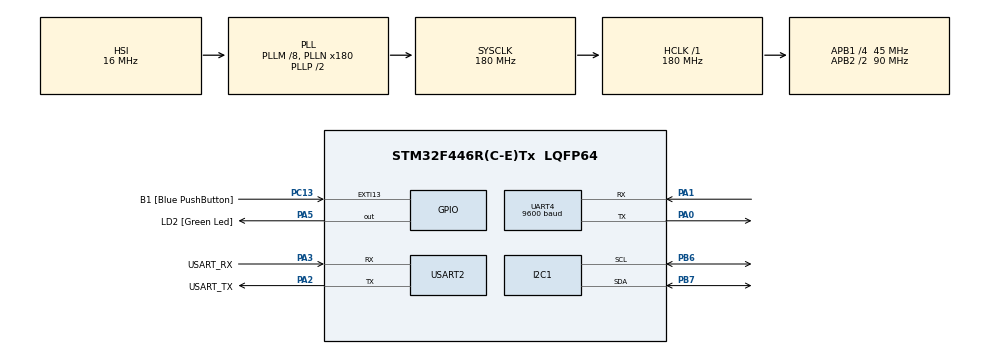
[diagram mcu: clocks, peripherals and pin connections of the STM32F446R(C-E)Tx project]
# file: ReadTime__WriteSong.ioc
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Mcu.Family=STM32F4
PH0-OSC_IN.Signal=RCC_OSC_IN
RCC.CortexFreq_Value=180000000
FREERTOS.Tasks01=readTime,-1,128,StartReadTime,Default,NULL,Dynamic,NULL,NULL;songTask,-3,128,StartSongTask,Default,NULL,Dynamic,NULL,NULL;counter,-3,128,Startcounter,Default,NULL,Dynamic,NULL,NULL
PC13.Signal=GPXTI13
FREERTOS.INCLUDE_vTaskDelayUntil=1
PA14.GPIO_Label=TCK
PC13.GPIO_Label=B1 [Blue PushButton]
RCC.APB1CLKDivider=RCC_HCLK_DIV4
UART4.VirtualMode=Asynchronous
RCC.SYSCLKSource=RCC_SYSCLKSOURCE_PLLCLK
ProjectManager.StackSize=0x400
PA0-WKUP.Signal=UART4_TX
PA0-WKUP.Mode=Asynchronous
PA13.Signal=SYS_JTMS-SWDIO
PA3.Mode=Asynchronous
ProjectManager.TargetToolchain=STM32CubeIDE
UART4.BaudRate=9600
RCC.HCLKFreq_Value=180000000
RCC.APB2TimFreq_Value=180000000
PB6.Signal=I2C1_SCL
PB6.Mode=I2C
RCC.USBFreq_Value=180000000
PA1.Signal=UART4_RX
RCC.AHBFreq_Value=180000000
PH0-OSC_IN.Mode=HSE-External-Oscillator
PA5.Signal=GPIO_Output
RCC.HSE_VALUE=8000000
board=NUCLEO-F446RE
RCC.VCOOutputFreq_Value=360000000
RCC.APB2Freq_Value=90000000
PA1.Mode=Asynchronous
PA14.Mode=Serial_Wire
VP_SYS_VS_tim1.Mode=TIM1
PH1-OSC_OUT.Signal=RCC_OSC_OUT
PB7.Signal=I2C1_SDA
VP_FREERTOS_VS_CMSIS_V1.Mode=CMSIS_V1
PA13.Mode=Serial_Wire
Mcu.Name=STM32F446R(C-E)Tx
PA2.Signal=USART2_TX
PA13.GPIO_Label=TMS
RCC.FLatency-AdvancedSettings=FLASH_LATENCY_5
PH1-OSC_OUT.Mode=HSE-External-Oscillator
RCC.48MHZClocksFreq_Value=84000000
RCC.SYSCLKFreq_VALUE=180000000
Mcu.Package=LQFP64
NVIC.TimeBase=TIM1_UP_TIM10_IRQn
PA5.GPIO_Label=LD2 [Green Led]
PC13.GPIO_ModeDefaultEXTI=GPIO_MODE_IT_FALLING
USART2.VirtualMode=VM_ASYNC
PA2.GPIO_Label=USART_TX
PB7.Mode=I2C
NVIC.TimeBaseIP=TIM1
PA14.Signal=SYS_JTCK-SWCLK
ProjectManager.HeapSize=0x200
NVIC.TIM1_UP_TIM10_IRQn=true\:0\:0\:false\:false\:true\:false\:false\:true
RCC.HSI_VALUE=16000000
NVIC.PriorityGroup=NVIC_PRIORITYGROUP_4
RCC.APB2CLKDivider=RCC_HCLK_DIV2
RCC.PLLM=8
RCC.PLLN=180
RCC.APB1TimFreq_Value=90000000
PA2.Mode=Asynchronous
RCC.APB1Freq_Value=45000000
PA3.GPIO_Label=USART_RX
PA3.Signal=USART2_RX

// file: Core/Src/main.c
/* USER CODE BEGIN Header */
/**
  ******************************************************************************
  * @file           : main.c
  * @brief          : Main program body
  ******************************************************************************
  * @attention
  *
  * <h2><center>&copy; Copyright (c) 2021 STMicroelectronics.
  * All rights reserved.</center></h2>
  *
  * This software component is licensed by ST under Ultimate Liberty license
  * SLA0044, the "License"; You may not use this file except in compliance with
  * the License. You may obtain a copy of the License at:
  *                             www.st.com/SLA0044
  *
  ******************************************************************************
  */
/* USER CODE END Header */
#include "main.h"
#include "cmsis_os.h"

/* USER CODE BEGIN Includes */
#include "stdio.h"
#include "string.h"
#include "df_player.h"
#include "fonts.h"
#include "ssd1306.h"
#include "DS3231.h"
/* USER CODE END Includes */

I2C_HandleTypeDef hi2c1;

UART_HandleTypeDef huart4;
UART_HandleTypeDef huart2;

osThreadId readTimeHandle;
osThreadId songTaskHandle;
osThreadId counterHandle;
/* USER CODE BEGIN PV */
osThreadId writeOLEDHandle;

uint16_t counter = 0;
/* USER CODE END PV */

void SystemClock_Config(void);
static void MX_GPIO_Init(void);
static void MX_USART2_UART_Init(void);
static void MX_UART4_Init(void);
static void MX_I2C1_Init(void);
void StartReadTime(void const * argument);
void StartSongTask(void const * argument);
void Startcounter(void const * argument);

/* USER CODE BEGIN PFP */
void StartWriteOLED(void const * argument);
/* USER CODE END PFP */

int main(void)
{

  /* MCU Configuration--------------------------------------------------------*/

  /* Reset of all peripherals, Initializes the Flash interface and the Systick. */
  HAL_Init();

  /* Configure the system clock */
  SystemClock_Config();

  /* Initialize all configured peripherals */
  MX_GPIO_Init();
  MX_USART2_UART_Init();
  MX_UART4_Init();
  MX_I2C1_Init();
  /* USER CODE BEGIN 2 */
  if (ssd1306_Init(&hi2c1) != 0) {
    Error_Handler();
  }
  ssd1306_Fill(Black);
  ssd1306_UpdateScreen(&hi2c1);
  push.seconds = 0 ;
  push.minutes = 25;
  push.hour = 17;
  push.day = 3;
  push.numWeek = 8;
  push.numMonth = 9;
  push.year = 21;
  pushTime(&push);
  /* USER CODE END 2 */

  /* Create the thread(s) */
  /* definition and creation of readTime */
  osThreadDef(readTime, StartReadTime, osPriorityBelowNormal, 0, 128);
  readTimeHandle = osThreadCreate(osThread(readTime), NULL);

  /* definition and creation of songTask */
  osThreadDef(songTask, StartSongTask, osPriorityIdle, 0, 128);
  songTaskHandle = osThreadCreate(osThread(songTask), NULL);

  /* definition and creation of counter */
  osThreadDef(counter, Startcounter, osPriorityIdle, 0, 128);
  counterHandle = osThreadCreate(osThread(counter), NULL);

  /* USER CODE BEGIN RTOS_THREADS */
  /* add threads, ... */
  osThreadDef(writeOLED, StartWriteOLED, osPriorityHigh, 0, 128);
  writeOLEDHandle = osThreadCreate(osThread(writeOLED), NULL);
  /* USER CODE END RTOS_THREADS */

  /* Start scheduler */
  osKernelStart();

  /* We should never get here as control is now taken by the scheduler */
  /* Infinite loop */
  while (1)
  {

  }
}

void SystemClock_Config(void)
{
  RCC_OscInitTypeDef RCC_OscInitStruct = {0};
  RCC_ClkInitTypeDef RCC_ClkInitStruct = {0};

  /** Configure the main internal regulator output voltage
  */
  __HAL_RCC_PWR_CLK_ENABLE();
  __HAL_PWR_VOLTAGESCALING_CONFIG(PWR_REGULATOR_VOLTAGE_SCALE1);
  /** Initializes the RCC Oscillators according to the specified parameters
  * in the RCC_OscInitTypeDef structure.
  */
  RCC_OscInitStruct.OscillatorType = RCC_OSCILLATORTYPE_HSI;
  RCC_OscInitStruct.HSIState = RCC_HSI_ON;
  RCC_OscInitStruct.HSICalibrationValue = RCC_HSICALIBRATION_DEFAULT;
  RCC_OscInitStruct.PLL.PLLState = RCC_PLL_ON;
  RCC_OscInitStruct.PLL.PLLSource = RCC_PLLSOURCE_HSI;
  RCC_OscInitStruct.PLL.PLLM = 8;
  RCC_OscInitStruct.PLL.PLLN = 180;
  RCC_OscInitStruct.PLL.PLLP = RCC_PLLP_DIV2;
  RCC_OscInitStruct.PLL.PLLQ = 2;
  RCC_OscInitStruct.PLL.PLLR = 2;
  if (HAL_RCC_OscConfig(&RCC_OscInitStruct) != HAL_OK)
  {
    Error_Handler();
  }
  /** Activate the Over-Drive mode
  */
  if (HAL_PWREx_EnableOverDrive() != HAL_OK)
  {
    Error_Handler();
  }
  /** Initializes the CPU, AHB and APB buses clocks
  */
  RCC_ClkInitStruct.ClockType = RCC_CLOCKTYPE_HCLK|RCC_CLOCKTYPE_SYSCLK
                              |RCC_CLOCKTYPE_PCLK1|RCC_CLOCKTYPE_PCLK2;
  RCC_ClkInitStruct.SYSCLKSource = RCC_SYSCLKSOURCE_PLLCLK;
  RCC_ClkInitStruct.AHBCLKDivider = RCC_SYSCLK_DIV1;
  RCC_ClkInitStruct.APB1CLKDivider = RCC_HCLK_DIV4;
  RCC_ClkInitStruct.APB2CLKDivider = RCC_HCLK_DIV2;

  if (HAL_RCC_ClockConfig(&RCC_ClkInitStruct, FLASH_LATENCY_5) != HAL_OK)
  {
    Error_Handler();
  }
}

static void MX_I2C1_Init(void)
{

  hi2c1.Instance = I2C1;
  hi2c1.Init.ClockSpeed = 100000;
  hi2c1.Init.DutyCycle = I2C_DUTYCYCLE_2;
  hi2c1.Init.OwnAddress1 = 0;
  hi2c1.Init.AddressingMode = I2C_ADDRESSINGMODE_7BIT;
  hi2c1.Init.DualAddressMode = I2C_DUALADDRESS_DISABLE;
  hi2c1.Init.OwnAddress2 = 0;
  hi2c1.Init.GeneralCallMode = I2C_GENERALCALL_DISABLE;
  hi2c1.Init.NoStretchMode = I2C_NOSTRETCH_DISABLE;
  if (HAL_I2C_Init(&hi2c1) != HAL_OK)
  {
    Error_Handler();
  }

}

static void MX_UART4_Init(void)
{

  huart4.Instance = UART4;
  huart4.Init.BaudRate = 9600;
  huart4.Init.WordLength = UART_WORDLENGTH_8B;
  huart4.Init.StopBits = UART_STOPBITS_1;
  huart4.Init.Parity = UART_PARITY_NONE;
  huart4.Init.Mode = UART_MODE_TX_RX;
  huart4.Init.HwFlowCtl = UART_HWCONTROL_NONE;
  huart4.Init.OverSampling = UART_OVERSAMPLING_16;
  if (HAL_UART_Init(&huart4) != HAL_OK)
  {
    Error_Handler();
  }

}

static void MX_USART2_UART_Init(void)
{

  huart2.Instance = USART2;
  huart2.Init.BaudRate = 115200;
  huart2.Init.WordLength = UART_WORDLENGTH_8B;
  huart2.Init.StopBits = UART_STOPBITS_1;
  huart2.Init.Parity = UART_PARITY_NONE;
  huart2.Init.Mode = UART_MODE_TX_RX;
  huart2.Init.HwFlowCtl = UART_HWCONTROL_NONE;
  huart2.Init.OverSampling = UART_OVERSAMPLING_16;
  if (HAL_UART_Init(&huart2) != HAL_OK)
  {
    Error_Handler();
  }

}

static void MX_GPIO_Init(void)
{
  GPIO_InitTypeDef GPIO_InitStruct = {0};

  /* GPIO Ports Clock Enable */
  __HAL_RCC_GPIOC_CLK_ENABLE();
  __HAL_RCC_GPIOH_CLK_ENABLE();
  __HAL_RCC_GPIOA_CLK_ENABLE();
  __HAL_RCC_GPIOB_CLK_ENABLE();

  /*Configure GPIO pin Output Level */
  HAL_GPIO_WritePin(LD2_GPIO_Port, LD2_Pin, GPIO_PIN_RESET);

  /*Configure GPIO pin : B1_Pin */
  GPIO_InitStruct.Pin = B1_Pin;
  GPIO_InitStruct.Mode = GPIO_MODE_IT_FALLING;
  GPIO_InitStruct.Pull = GPIO_NOPULL;
  HAL_GPIO_Init(B1_GPIO_Port, &GPIO_InitStruct);

  /*Configure GPIO pin : LD2_Pin */
  GPIO_InitStruct.Pin = LD2_Pin;
  GPIO_InitStruct.Mode = GPIO_MODE_OUTPUT_PP;
  GPIO_InitStruct.Pull = GPIO_NOPULL;
  GPIO_InitStruct.Speed = GPIO_SPEED_FREQ_LOW;
  HAL_GPIO_Init(LD2_GPIO_Port, &GPIO_InitStruct);

}

/* USER CODE BEGIN 4 */
void StartWriteOLED(void const * argument)
{
	char str[15];
	for(;;){
		pullTime();
		/*ssd1306_SetCursor(5, 0);
		ssd1306_WriteString("COUNTER", Font_11x18, White);*/
		ssd1306_SetCursor(15, 36);
		sprintf(str,"%d",counter);
		ssd1306_WriteString(str, Font_11x18, White);
		ssd1306_SetCursor(20, 5);
		sprintf(str,"%02d:%02d:%02d:",pull.hour,pull.minutes,pull.seconds);
		ssd1306_WriteString(str, Font_11x18, White);
		ssd1306_UpdateScreen(&hi2c1);
		osDelay(500);
	}
}
/* USER CODE END 4 */

void StartReadTime(void const * argument)
{
  for(;;)
  {
    osDelay(1);
  }
}

void StartSongTask(void const * argument)
{
  /* USER CODE BEGIN StartSongTask */
  /* Infinite loop */
  for(;;)
  {
	HAL_GPIO_TogglePin(LD2_GPIO_Port, LD2_Pin);
    osDelay(1000);
  }
  /* USER CODE END StartSongTask */
}

void Startcounter(void const * argument)
{
  /* USER CODE BEGIN Startcounter */
  /* Infinite loop */
  for(;;)
  {
	counter++;
    osDelay(500);
  }
  /* USER CODE END Startcounter */
}

 /**
  * @brief  Period elapsed callback in non blocking mode
  * @note   This function is called  when TIM1 interrupt took place, inside
  * HAL_TIM_IRQHandler(). It makes a direct call to HAL_IncTick() to increment
  * a global variable "uwTick" used as application time base.
  * @param  htim : TIM handle
  * @retval None
  */
void HAL_TIM_PeriodElapsedCallback(TIM_HandleTypeDef *htim)
{
  if (htim->Instance == TIM1) {
    HAL_IncTick();
  }
}

void Error_Handler(void)
{
  __disable_irq();
  while (1)
  {
  }
}

/************************ (C) COPYRIGHT STMicroelectronics *****END OF FILE****/
